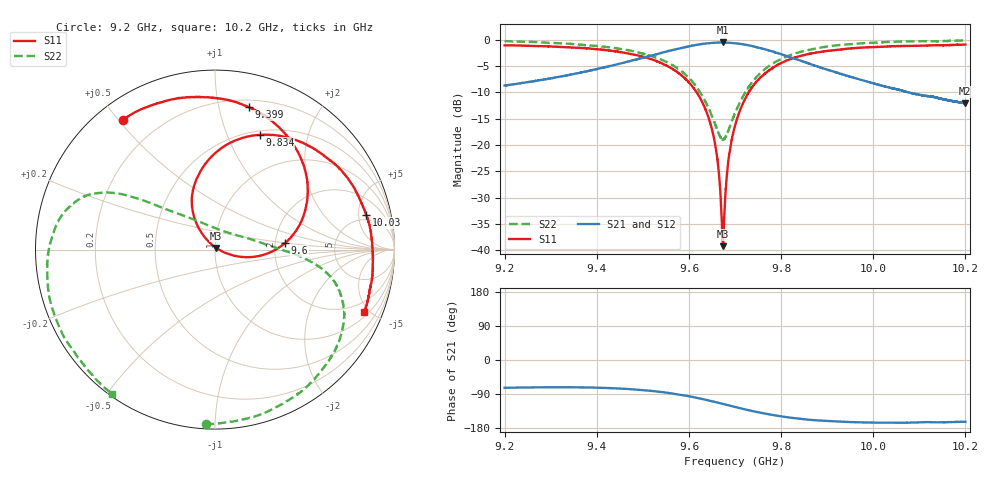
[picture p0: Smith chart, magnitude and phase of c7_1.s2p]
!Agilent Technologies,N5242A,MY51221714,A.09.90.19
!Agilent N5242A: A.09.90.19
!Date: Saturday, December 30, 2023 10:31:17
!Correction: S11(Full 2 Port(1,2))
!S21(Full 2 Port(1,2))
!S12(Full 2 Port(1,2))
!S22(Full 2 Port(1,2))
!S2P File: Measurements: S11, S21, S12, S22:
# Hz S  dB  R 50
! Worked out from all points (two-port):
!   16001 points, 9.2 GHz to 10.2 GHz, reference 50 ohm
!   highest |S21| = -0.50 dB at 9.675 GHz (marker M1); lowest = -12.1 dB at 10.2 GHz (marker M2)
!   |S21| within 3 dB of the highest: 9.495623 GHz to 9.495628 GHz (4.779 kHz wide, 5.03e-05 % of centre); 9.496 GHz to 9.827 GHz (331 MHz wide, 3.43 % of centre)
!   lowest |S11| = -39.2 dB at 9.674 GHz (marker M3), VSWR 1.02, Z = 50.5 + j0.963 ohm
!   |S11| at or under -10 dB: 9.617 GHz to 9.73 GHz (112.7 MHz wide, 1.17 % of centre)
!   |S22| runs from -19.0 to -0.1 dB; largest |S21 - S12| = 0.015
!   S11 on the Smith chart (normalised r, x): 9.2 GHz: 0.08, +0.51; 9.399 GHz: 0.26, +1.23; 9.6 GHz: 2.27, +0.20; 9.834 GHz: 0.54, +1.32; 10.03 GHz: 4.06, +6.25; 10.2 GHz: 1.24, -4.65
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9.2e9  -1.05 125.5  -8.68 -73.4  -8.67 -74.1  -0.23 -93.1
9.277938e9  -1.20 107.5  -7.67 -72.1  -7.64 -72.7  -0.46 -71.9
9.366688e9  -1.54 85.5  -6.20 -72.3  -6.18 -73.0  -0.93 -48.9
9.399e9  -1.78 76.7  -5.59 -73.1  -5.56 -73.8  -1.16 -40.9
9.533375e9  -4.18 33.4  -2.65 -83.4  -2.64 -84.0  -3.52 -13.6
9.600125e9  -8.12 5.5  -1.24 -95.7  -1.22 -96.5  -7.23 -3.0
9.629625e9  -11.97 -7.9  -0.77 -103.1  -0.76 -103.8  -10.77 5.5
9.650188e9  -17.06 -16.2  -0.57 -108.9  -0.57 -109.7  -14.50 20.2
9.661688e9  -22.73 -18.2  -0.53 -112.3  -0.51 -113.0  -17.19 36.7
9.67075e9  -33.01 -0.2  -0.51 -115.0  -0.49 -115.7  -18.82 61.1
9.674e9  -39.24 60.8  -0.50 -116.0  -0.49 -116.6  -18.96 71.4
9.67475e9  -37.70 75.6  -0.50 -116.2  -0.49 -116.9  -18.93 74.0
9.686125e9  -22.65 129.6  -0.55 -119.7  -0.52 -120.4  -17.08 105.2
9.7e9  -16.37 126.8  -0.64 -123.9  -0.61 -124.6  -13.97 124.2
9.746562e9  -7.96 105.4  -1.38 -136.9  -1.35 -137.7  -7.07 144.1
9.833625e9  -3.26 68.7  -3.70 -154.0  -3.70 -154.8  -2.51 155.6
9.866688e9  -2.56 57.1  -4.69 -158.3  -4.68 -159.0  -1.79 160.3
9.95e9  -1.63 32.6  -7.00 -163.8  -7.00 -164.4  -0.82 175.6
1.002919e10  -1.26 12.9  -8.93 -165.3  -8.93 -166.1  -0.41 -167.2
1.003338e10  -1.26 11.9  -9.05 -165.4  -9.02 -166.1  -0.38 -166.3
1.019906e10  -0.91 -22.5  -12.07 -163.1  -12.05 -163.9  -0.12 -125.6
1.02e10  -0.89 -22.8  -12.06 -163.1  -12.07 -163.8  -0.12 -125.4
